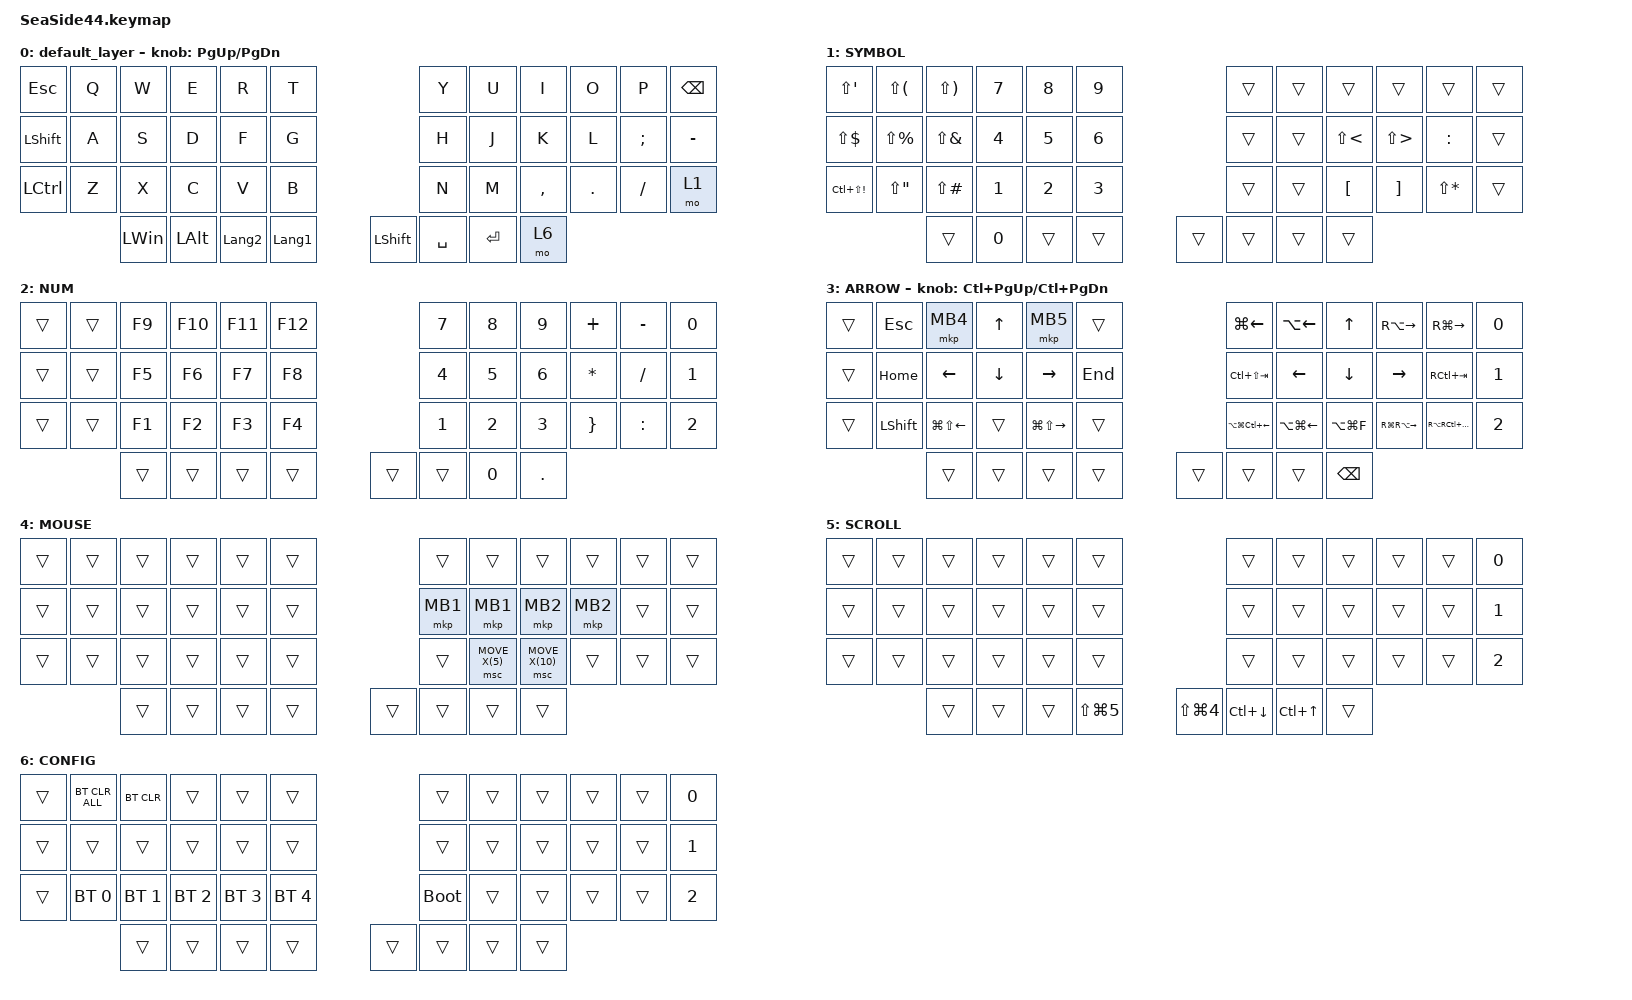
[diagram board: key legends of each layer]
#include <behaviors.dtsi>
#include <dt-bindings/zmk/bt.h>
#include <dt-bindings/zmk/keys.h>
#include <dt-bindings/zmk/pointing.h>

#define MOUSE 4
#define SCROLL 5
#define NUM 6

&mt {
    flavor = "balanced";
    quick-tap-ms = <300>;
};

&lt {
    flavor = "balanced";
    quick-tap-ms = <300>;
};

/ {
    combos { compatible = "zmk,combos"; };

    macros {
        to_layer_0: to_layer_0 {
            compatible = "zmk,behavior-macro-one-param";
            #binding-cells = <1>;
            bindings = <&to 0 &macro_param_1to1 &kp MACRO_PLACEHOLDER>;
            label = "TO_LAYER_0";
        };
    };

    behaviors {
        lt_to_layer_0: lt_to_layer_0 {
            compatible = "zmk,behavior-hold-tap";
            label = "LAYER_TAP_TO_0";
            bindings = <&mo>, <&to_layer_0>;

            #binding-cells = <2>;
            tapping-term-ms = <200>;
        };
    };

    keymap {
        compatible = "zmk,keymap";

        default_layer {
            bindings = <
&kp ESCAPE  &kp Q  &kp W     &kp E         &kp R           &kp T                                        &kp Y      &kp U  &kp I      &kp O       &kp P          &kp BACKSPACE
&kp LSHIFT  &kp A  &kp S     &kp D         &kp F           &kp G                                        &kp H      &kp J  &kp K      &kp L       &kp SEMICOLON  &kp MINUS
&kp LCTRL   &kp Z  &kp X     &kp C         &kp V           &kp B                                        &kp N      &kp M  &kp COMMA  &kp PERIOD  &kp SLASH      &mo 1
                   &kp LWIN  &kp LEFT_ALT  &kp LANGUAGE_2  &kp LANGUAGE_1  &kp LEFT_SHIFT    &kp SPACE  &kp ENTER         &mo 6
            >;

            sensor-bindings = <&inc_dec_kp PG_UP PAGE_DOWN>;
        };

        SYMBOL {
            bindings = <
&kp LS(SQT)              &kp LS(LEFT_PARENTHESIS)  &kp LS(RIGHT_PARENTHESIS)  &kp N7        &kp N8        &kp N9                          &trans  &trans  &trans             &trans                &trans            &trans
&kp LS(DOLLAR)           &kp LS(PERCENT)           &kp LS(AMPERSAND)          &kp NUMBER_4  &kp N5        &kp NUMBER_6                    &trans  &trans  &kp LS(LESS_THAN)  &kp LS(GREATER_THAN)  &kp COLON         &trans
&kp LC(LS(EXCLAMATION))  &kp LS(DOUBLE_QUOTES)     &kp LS(POUND)              &kp NUMBER_1  &kp NUMBER_2  &kp NUMBER_3                    &trans  &trans  &kp LEFT_BRACKET   &kp RIGHT_BRACKET     &kp LS(ASTERISK)  &trans
                                                   &trans                     &kp N0        &trans        &trans        &trans    &trans  &trans          &trans
            >;
        };

        NUM {
            bindings = <
&trans  &trans  &kp F9  &kp F10  &kp F11  &kp F12                    &kp N7        &kp NUMBER_8  &kp NUMBER_9  &kp PLUS         &kp MINUS  &kp N0
&trans  &trans  &kp F5  &kp F6   &kp F7   &kp F8                     &kp NUMBER_4  &kp NUMBER_5  &kp NUMBER_6  &kp ASTERISK     &kp SLASH  &kp N1
&trans  &trans  &kp F1  &kp F2   &kp F3   &kp F4                     &kp NUMBER_1  &kp NUMBER_2  &kp NUMBER_3  &kp RIGHT_BRACE  &kp COLON  &kp N2
                &trans  &trans   &trans   &trans   &trans    &trans  &kp NUMBER_0                &kp PERIOD
            >;
        };

        ARROW {
            bindings = <
&trans  &kp ESCAPE      &mkp MB4                &kp UP_ARROW    &mkp MB5                 &trans                     &kp LG(LEFT_ARROW)          &kp LA(LEFT_ARROW)      &kp UP_ARROW    &kp RA(RIGHT_ARROW)      &kp RG(RIGHT_ARROW)          &kp N0
&trans  &kp HOME        &kp LEFT_ARROW          &kp DOWN_ARROW  &kp RIGHT_ARROW          &kp END                    &kp LC(LS(TAB))             &kp LEFT_ARROW          &kp DOWN_ARROW  &kp RIGHT_ARROW          &kp RC(TAB)                  &kp N1
&trans  &kp LEFT_SHIFT  &kp LG(LS(LEFT_ARROW))  &trans          &kp LG(LS(RIGHT_ARROW))  &trans                     &kp LA(LG(LC(LEFT_ARROW)))  &kp LA(LG(LEFT_ARROW))  &kp LA(LG(F))   &kp RG(RA(RIGHT_ARROW))  &kp RA(RC(RG(RIGHT_ARROW)))  &kp N2
                        &trans                  &trans          &trans                   &trans   &trans    &trans  &trans                                              &kp BACKSPACE
            >;

            sensor-bindings = <&inc_dec_kp LC(PAGE_UP) LC(PAGE_DOWN)>;
        };

        MOUSE {
            bindings = <
&trans  &trans  &trans  &trans  &trans  &trans                    &trans    &trans          &trans           &trans    &trans  &trans
&trans  &trans  &trans  &trans  &trans  &trans                    &mkp MB1  &mkp MB1        &mkp MB2         &mkp MB2  &trans  &trans
&trans  &trans  &trans  &trans  &trans  &trans                    &trans    &msc MOVE_X(5)  &msc MOVE_X(10)  &trans    &trans  &trans
                &trans  &trans  &trans  &trans  &trans    &trans  &trans                    &trans
            >;
        };

        SCROLL {
            bindings = <
&trans  &trans  &trans  &trans  &trans  &trans                                          &trans            &trans  &trans  &trans  &trans  &kp N0
&trans  &trans  &trans  &trans  &trans  &trans                                          &trans            &trans  &trans  &trans  &trans  &kp N1
&trans  &trans  &trans  &trans  &trans  &trans                                          &trans            &trans  &trans  &trans  &trans  &kp N2
                &trans  &trans  &trans  &kp LS(LG(N5))  &kp LS(LG(N4))    &kp LC(DOWN)  &kp LC(UP_ARROW)          &trans
            >;
        };

        CONFIG {
            bindings = <
&trans  &bt BT_CLR_ALL  &bt BT_CLR    &trans        &trans        &trans                          &trans       &trans  &trans  &trans  &trans  &kp N0
&trans  &trans          &trans        &trans        &trans        &trans                          &trans       &trans  &trans  &trans  &trans  &kp N1
&trans  &bt BT_SEL 0    &bt BT_SEL 1  &bt BT_SEL 2  &bt BT_SEL 3  &bt BT_SEL 4                    &bootloader  &trans  &trans  &trans  &trans  &kp N2
                        &trans        &trans        &trans        &trans        &trans    &trans  &trans               &trans
            >;
        };
    };
};
